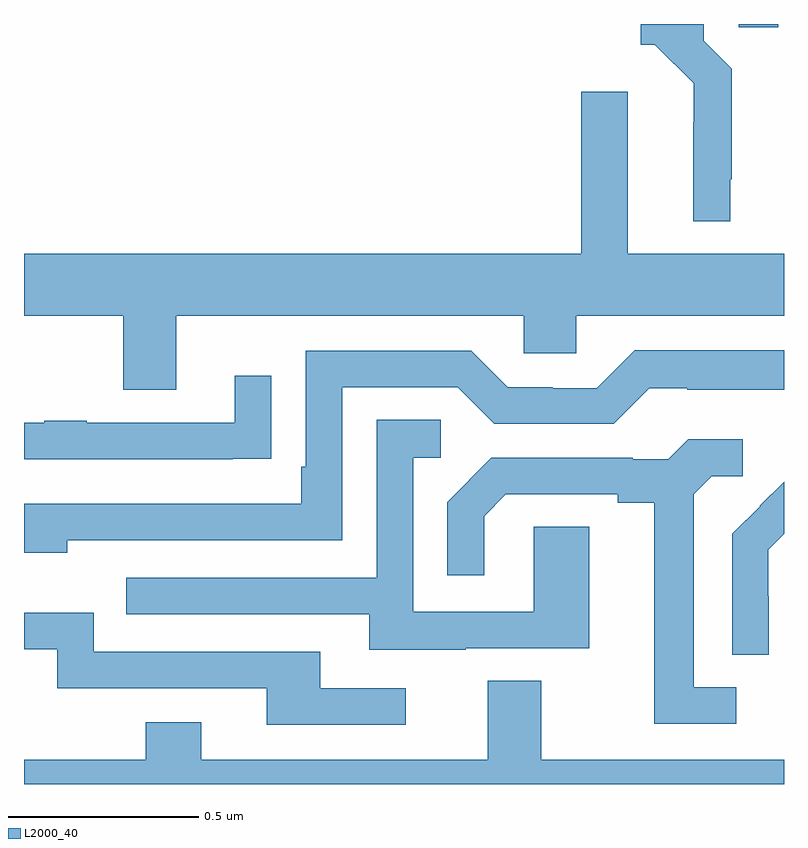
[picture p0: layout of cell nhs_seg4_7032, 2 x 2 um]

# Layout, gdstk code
import gdstk
lib = gdstk.Library(unit=1e-6, precision=1e-09)
def R(c, l, rs):  # rectangles x0, y0, x1, y1
    for r in rs: c.add(gdstk.rectangle(r[:2], r[2:], *l))
def P(c, l, *ps):  # polygons
    for p in ps: c.add(gdstk.Polygon(p, *l))
L2000_40 = (2000, 40)

nhs_seg4_7032 = lib.new_cell('nhs_seg4_7032')
R(nhs_seg4_7032, L2000_40, [(198.881,818.892,198.985,818.9)])
P(nhs_seg4_7032, L2000_40, [(198.859,818.491),(198.863,818.491),(198.863,818.782),(198.789,818.856),(198.789,818.9),(198.623,818.9),(198.623,818.846),(198.66,818.846),(198.762,818.744),(198.762,818.642),(198.761,818.642),(198.761,818.381),(198.859,818.381)],
  [(197,818.132),(197.261,818.132),(197.261,817.938),(197.401,817.938),(197.401,818.132),(198.315,818.132),(198.315,818.034),(198.453,818.034),(198.453,818.132),(199,818.132),(199,818.296),(198.589,818.296),(198.589,818.722),(198.467,818.722),(198.467,818.296),(197,818.296)],
  [(197.114,817.542),(197.838,817.542),(197.838,817.944),(198.141,817.944),(198.237,817.848),(198.552,817.848),(198.645,817.941),(198.745,817.941),(198.745,817.937),(199,817.937),(199,818.041),(198.607,818.041),(198.507,817.941),(198.392,817.941),(198.392,817.944),(198.273,817.944),(198.177,818.04),(197.742,818.04),(197.742,817.735),(197.729,817.735),(197.729,817.638),(197,817.638),(197,817.508),(197.114,817.508)],
  [(197.549,817.756),(197.651,817.756),(197.651,817.975),(197.555,817.975),(197.555,817.851),(197.165,817.851),(197.165,817.856),(197.053,817.856),(197.053,817.851),(197,817.851),(197,817.755),(197.549,817.755)],
  [(198.163,817.257),(198.487,817.257),(198.487,817.577),(198.342,817.577),(198.342,817.353),(198.024,817.353),(198.024,817.758),(198.097,817.758),(198.097,817.859),(197.928,817.859),(197.928,817.443),(197.269,817.443),(197.269,817.347),(197.909,817.347),(197.909,817.253),(198.163,817.253)],
  [(198.874,817.155),(198.763,817.155),(198.763,817.663),(198.81,817.71),(198.892,817.71),(198.892,817.807),(198.748,817.807),(198.696,817.755),(198.602,817.755),(198.602,817.758),(198.23,817.758),(198.114,817.642),(198.114,817.449),(198.211,817.449),(198.211,817.605),(198.268,817.662),(198.563,817.662),(198.563,817.64),(198.659,817.64),(198.659,817.059),(198.874,817.059)],
  [(198.96,817.394),(198.959,817.394),(198.959,817.517),(199,817.558),(199,817.696),(198.936,817.632),(198.937,817.631),(198.864,817.558),(198.864,817.24),(198.96,817.24)],
  [(198.004,817.152),(197.779,817.152),(197.779,817.248),(197.184,817.248),(197.184,817.351),(197,817.351),(197,817.254),(197.088,817.254),(197.088,817.152),(197.639,817.152),(197.639,817.056),(198.004,817.056)],
  [(197,816.9),(199,816.9),(199,816.964),(198.361,816.964),(198.361,817.172),(198.221,817.172),(198.221,816.964),(197.467,816.964),(197.467,817.063),(197.32,817.063),(197.32,816.964),(197,816.964)])

lib.write_gds('nhs_seg4_7032.gds')
